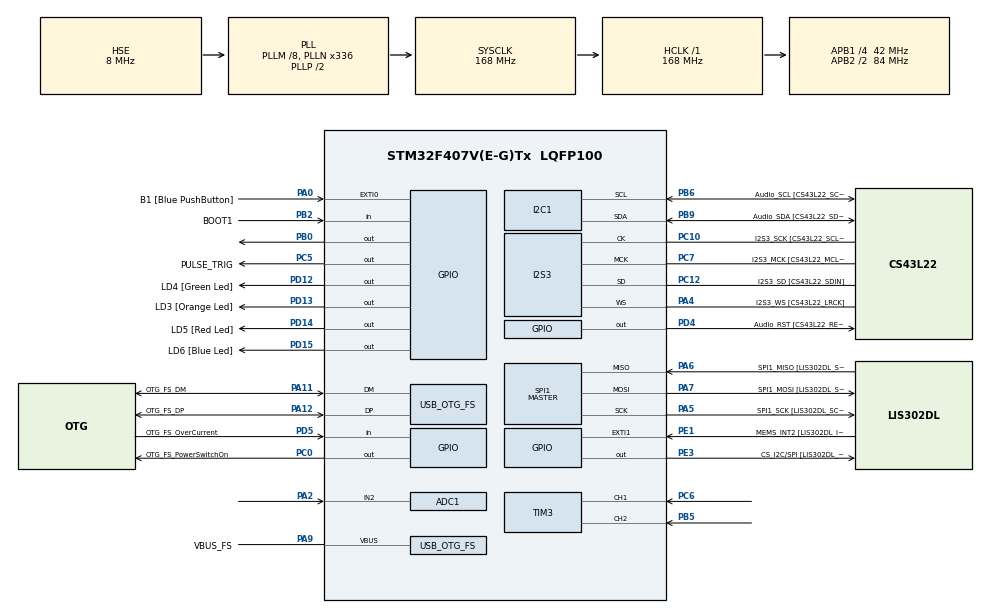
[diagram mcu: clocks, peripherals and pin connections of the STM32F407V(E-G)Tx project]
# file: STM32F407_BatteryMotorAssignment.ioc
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ADC1.Channel-0\#ChannelRegularConversion=ADC_CHANNEL_2
ADC1.NbrOfConversionFlag=1
ADC1.Rank-0\#ChannelRegularConversion=1
ADC1.SamplingTime-0\#ChannelRegularConversion=ADC_SAMPLETIME_3CYCLES
ADC1.master=1
I2S3.AudioFreq-Half_Duplex_Master=I2S_AUDIOFREQ_96K
I2S3.ErrorAudioFreq=-2.34 %
I2S3.ErrorAudioFreq-Half_Duplex_Master=0.8 %
I2S3.FullDuplexMode=I2S_FULLDUPLEXMODE_DISABLE
I2S3.Instance=SPI$Index
I2S3.RealAudioFreq=93.75 KHz
I2S3.RealAudioFreq-Half_Duplex_Master=96.774 KHz
I2S3.VirtualMode=I2S_MODE_MASTER
Mcu.Family=STM32F4
Mcu.Name=STM32F407V(E-G)Tx
Mcu.Package=LQFP100
NVIC.OTG_FS_IRQn=true\:0\:0\:false\:false\:true\:true\:true\:true
NVIC.PriorityGroup=NVIC_PRIORITYGROUP_0
NVIC.TIM3_IRQn=true\:0\:0\:false\:false\:true\:true\:true\:true
PA0-WKUP.GPIO_Label=B1 [Blue PushButton]
PA0-WKUP.GPIO_ModeDefaultEXTI=GPIO_MODE_EVT_RISING
PA0-WKUP.GPIO_PuPd=GPIO_NOPULL
PA0-WKUP.Signal=GPXTI0
PA1.Signal=S_TIM2_CH2
PA10.GPIO_Label=OTG_FS_ID
PA10.GPIO_Mode=GPIO_MODE_AF_PP
PA10.GPIO_PuPd=GPIO_NOPULL
PA10.GPIO_Speed=GPIO_SPEED_FREQ_LOW
PA10.Signal=USB_OTG_FS_ID
PA11.GPIO_Label=OTG_FS_DM
PA11.GPIO_Mode=GPIO_MODE_AF_PP
PA11.GPIO_PuPd=GPIO_NOPULL
PA11.GPIO_Speed=GPIO_SPEED_FREQ_LOW
PA11.Mode=Host_Only
PA11.Signal=USB_OTG_FS_DM
PA12.GPIO_Label=OTG_FS_DP
PA12.GPIO_Mode=GPIO_MODE_AF_PP
PA12.GPIO_PuPd=GPIO_NOPULL
PA12.GPIO_Speed=GPIO_SPEED_FREQ_LOW
PA12.Mode=Host_Only
PA12.Signal=USB_OTG_FS_DP
PA13.GPIO_Label=SWDIO
PA13.Mode=Serial_Wire
PA13.Signal=SYS_JTMS-SWDIO
PA14.GPIO_Label=SWCLK
PA14.Mode=Serial_Wire
PA14.Signal=SYS_JTCK-SWCLK
PA15.Signal=S_TIM2_CH1_ETR
PA2.Signal=ADCx_IN2
PA4.GPIO_Label=I2S3_WS [CS43L22_LRCK]
PA4.GPIO_Mode=GPIO_MODE_AF_PP
PA4.GPIO_PuPd=GPIO_NOPULL
PA4.GPIO_Speed=GPIO_SPEED_FREQ_LOW
PA4.Mode=Half_Duplex_Master
PA4.Signal=I2S3_WS
PA5.GPIO_Label=SPI1_SCK [LIS302DL_SCL/SPC]
PA5.GPIO_Mode=GPIO_MODE_AF_PP
PA5.GPIO_PuPd=GPIO_NOPULL
PA5.GPIO_Speed=GPIO_SPEED_FREQ_LOW
PA5.Mode=Full_Duplex_Master
PA5.Signal=SPI1_SCK
PA6.GPIO_Label=SPI1_MISO [LIS302DL_SDO]
PA6.GPIO_Mode=GPIO_MODE_AF_PP
PA6.GPIO_PuPd=GPIO_NOPULL
PA6.GPIO_Speed=GPIO_SPEED_FREQ_LOW
PA6.Mode=Full_Duplex_Master
PA6.Signal=SPI1_MISO
PA7.GPIO_Label=SPI1_MOSI [LIS302DL_SDA/SDI/SDO]
PA7.GPIO_Mode=GPIO_MODE_AF_PP
PA7.GPIO_PuPd=GPIO_NOPULL
PA7.GPIO_Speed=GPIO_SPEED_FREQ_LOW
PA7.Mode=Full_Duplex_Master
PA7.Signal=SPI1_MOSI
PA9.GPIO_Label=VBUS_FS
PA9.GPIO_Mode=GPIO_MODE_INPUT
PA9.GPIO_PuPd=GPIO_NOPULL
PA9.Mode=Activate_VBUS
PA9.Signal=USB_OTG_FS_VBUS
PB0.Signal=GPIO_Output
PB10.GPIO_Label=CLK_IN [MP45DT02_CLK]
PB10.GPIO_Mode=GPIO_MODE_AF_PP
PB10.GPIO_PuPd=GPIO_NOPULL
PB10.GPIO_Speed=GPIO_SPEED_FREQ_LOW
PB10.Signal=I2S2_CK
PB2.GPIO_Label=BOOT1
PB2.GPIO_Mode=GPIO_MODE_INPUT
PB2.GPIO_PuPd=GPIO_NOPULL
PB2.Signal=GPIO_Input
PB3.GPIO_Label=SWO
PB3.Signal=SYS_JTDO-SWO
PB5.Signal=S_TIM3_CH2
PB6.GPIO_Label=Audio_SCL [CS43L22_SCL]
PB6.GPIO_Mode=GPIO_MODE_AF_OD
PB6.GPIO_Pu=GPIO_PULLUP
PB6.GPIO_PuPd=GPIO_NOPULL
PB6.GPIO_Speed=GPIO_SPEED_FREQ_LOW
PB6.Mode=I2C
PB6.Signal=I2C1_SCL
PB9.GPIO_Label=Audio_SDA [CS43L22_SDA]
PB9.GPIO_Mode=GPIO_MODE_AF_OD
PB9.GPIO_Pu=GPIO_PULLUP
PB9.GPIO_PuPd=GPIO_NOPULL
PB9.GPIO_Speed=GPIO_SPEED_FREQ_LOW
PB9.Mode=I2C
PB9.Signal=I2C1_SDA
PC0.GPIO_Label=OTG_FS_PowerSwitchOn
PC0.GPIO_PuPd=GPIO_NOPULL
PC0.GPIO_Speed=GPIO_SPEED_FREQ_LOW
PC0.PinState=GPIO_PIN_SET
PC0.Signal=GPIO_Output
PC10.GPIO_Label=I2S3_SCK [CS43L22_SCLK]
PC10.GPIO_Mode=GPIO_MODE_AF_PP
PC10.GPIO_PuPd=GPIO_NOPULL
PC10.GPIO_Speed=GPIO_SPEED_FREQ_LOW
PC10.Mode=Half_Duplex_Master
PC10.Signal=I2S3_CK
PC12.GPIO_Label=I2S3_SD [CS43L22_SDIN]
PC12.GPIO_Mode=GPIO_MODE_AF_PP
PC12.GPIO_PuPd=GPIO_NOPULL
PC12.GPIO_Speed=GPIO_SPEED_FREQ_LOW
PC12.Mode=Half_Duplex_Master
PC12.Signal=I2S3_SD
PC14-OSC32_IN.GPIO_Label=PC14-OSC32_IN
PC14-OSC32_IN.Mode=LSE-External-Oscillator
PC14-OSC32_IN.Signal=RCC_OSC32_IN
PC15-OSC32_OUT.GPIO_Label=PC15-OSC32_OUT
PC15-OSC32_OUT.Mode=LSE-External-Oscillator
PC15-OSC32_OUT.Signal=RCC_OSC32_OUT
PC3.GPIO_Label=PDM_OUT [MP45DT02_DOUT]
PC3.GPIO_Mode=GPIO_MODE_AF_PP
PC3.GPIO_PuPd=GPIO_NOPULL
PC3.GPIO_Speed=GPIO_SPEED_FREQ_LOW
PC3.Signal=I2S2_SD
PC5.GPIO_Label=PULSE_TRIG
PC5.Signal=GPIO_Output
PC6.Signal=S_TIM3_CH1
PC7.GPIO_Label=I2S3_MCK [CS43L22_MCLK]
PC7.GPIO_Mode=GPIO_MODE_AF_PP
PC7.GPIO_PuPd=GPIO_NOPULL
PC7.GPIO_Speed=GPIO_SPEED_FREQ_LOW
PC7.Mode=Master_Clock_Activated
PC7.Signal=I2S3_MCK
PD12.GPIO_Label=LD4 [Green Led]
PD12.GPIO_PuPd=GPIO_NOPULL
PD12.GPIO_Speed=GPIO_SPEED_FREQ_LOW
PD12.Signal=GPIO_Output
PD13.GPIO_Label=LD3 [Orange Led]
PD13.GPIO_PuPd=GPIO_NOPULL
PD13.GPIO_Speed=GPIO_SPEED_FREQ_LOW
PD13.Signal=GPIO_Output
PD14.GPIO_Label=LD5 [Red Led]
PD14.GPIO_PuPd=GPIO_NOPULL
PD14.GPIO_Speed=GPIO_SPEED_FREQ_LOW
PD14.Signal=GPIO_Output
PD15.GPIO_Label=LD6 [Blue Led]
PD15.GPIO_PuPd=GPIO_NOPULL
PD15.GPIO_Speed=GPIO_SPEED_FREQ_LOW
PD15.Signal=GPIO_Output
PD4.GPIO_Label=Audio_RST [CS43L22_RESET]
PD4.GPIO_PuPd=GPIO_NOPULL
PD4.GPIO_Speed=GPIO_SPEED_FREQ_LOW
PD4.Signal=GPIO_Output
PD5.GPIO_Label=OTG_FS_OverCurrent
PD5.GPIO_Mode=GPIO_MODE_INPUT
PD5.GPIO_PuPd=GPIO_NOPULL
PD5.Signal=GPIO_Input
PE1.GPIO_Label=MEMS_INT2 [LIS302DL_INT2]
PE1.GPIO_ModeDefaultEXTI=GPIO_MODE_EVT_RISING
PE1.GPIO_PuPd=GPIO_NOPULL
PE1.Signal=GPXTI1
PE3.GPIO_Label=CS_I2C/SPI [LIS302DL_CS_I2C/SPI]
PE3.GPIO_PuPd=GPIO_NOPULL
PE3.GPIO_Speed=GPIO_SPEED_FREQ_LOW
PE3.Signal=GPIO_Output
PH0-OSC_IN.GPIO_Label=PH0-OSC_IN
PH0-OSC_IN.Mode=HSE-External-Oscillator
PH0-OSC_IN.Signal=RCC_OSC_IN
PH1-OSC_OUT.GPIO_Label=PH1-OSC_OUT
PH1-OSC_OUT.Mode=HSE-External-Oscillator
PH1-OSC_OUT.Signal=RCC_OSC_OUT
ProjectManager.HeapSize=0x200
ProjectManager.StackSize=0x400
ProjectManager.TargetToolchain=STM32CubeIDE
RCC.48MHZClocksFreq_Value=48000000
RCC.AHBFreq_Value=168000000
RCC.APB1CLKDivider=RCC_HCLK_DIV4
RCC.APB1Freq_Value=42000000
RCC.APB1TimFreq_Value=84000000
RCC.APB2CLKDivider=RCC_HCLK_DIV2
RCC.APB2Freq_Value=84000000
RCC.APB2TimFreq_Value=168000000
RCC.CortexFreq_Value=168000000
RCC.HCLKFreq_Value=168000000
RCC.HSE_VALUE=8000000
RCC.HSI_VALUE=16000000
RCC.PLLM=8
RCC.PLLN=336
RCC.PLLQ=7
RCC.SYSCLKFreq_VALUE=168000000
RCC.SYSCLKSource=RCC_SYSCLKSOURCE_PLLCLK
RCC.VCOOutputFreq_Value=336000000
SH.ADCx_IN2.0=ADC1_IN2,IN2
SH.S_TIM2_CH1_ETR.0=TIM2_CH1
SH.S_TIM2_CH2.0=TIM2_CH2
SH.S_TIM3_CH1.0=TIM3_CH1,Encoder_Interface
SH.S_TIM3_CH2.0=TIM3_CH2,Encoder_Interface
SPI1.BaudRatePrescaler-Full_Duplex_Master=SPI_BAUDRATEPRESCALER_2
SPI1.CalculateBaudRate-Full_Duplex_Master=42.0 MBits/s
SPI1.Direction=SPI_DIRECTION_2LINES
SPI1.Mode=SPI_MODE_MASTER
SPI1.Mode-Full_Duplex_Master=SPI_MODE_MASTER
SPI1.VirtualType=VM_MASTER
TIM1.Period=50000-1
TIM1.Prescaler=168-1
TIM3.IC1Polarity=TIM_ICPOLARITY_FALLING
TIM3.IC2Polarity=TIM_ICPOLARITY_FALLING
USB_HOST.BSP.number=1
USB_HOST.USBH_HandleTypeDef-CDC_FS=hUsbHostFS
USB_HOST.VirtualModeFS=Cdc
USB_HOST0.BSP.STBoard=false
USB_HOST0.BSP.api=Unknown
USB_HOST0.BSP.instance=PC0
USB_HOST0.BSP.ip=GPIO
USB_HOST0.BSP.mode=Output
USB_HOST0.BSP.name=Drive_VBUS_FS
USB_HOST0.BSP.solution=PC0
USB_OTG_FS.VirtualMode=Host_Only
USB_OTG_FS.phy_itface=HCD_PHY_EMBEDDED
VP_TIM1_VS_OPM.Mode=OPM_bit
VP_USB_HOST_VS_USB_HOST_CDC_FS.Mode=CDC_FS
board=STM32F407G-DISC1

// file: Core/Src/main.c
/* USER CODE BEGIN Header */
/**
  ******************************************************************************
  * @file           : main.c
  * @brief          : Main program body
  ******************************************************************************
  * @attention
  *
  * Copyright (c) 2025 STMicroelectronics.
  * All rights reserved.
  *
  * This software is licensed under terms that can be found in the LICENSE file
  * in the root directory of this software component.
  * If no LICENSE file comes with this software, it is provided AS-IS.
  *
  ******************************************************************************
  */
/* USER CODE END Header */
#include "main.h"
#include "usb_host.h"

ADC_HandleTypeDef hadc1;

I2C_HandleTypeDef hi2c1;

I2S_HandleTypeDef hi2s3;

SPI_HandleTypeDef hspi1;

TIM_HandleTypeDef htim1;
TIM_HandleTypeDef htim3;

/* USER CODE BEGIN PV */

#define MOTOR_PWM_CHANNEL TIM_CHANNEL_1
#define ADC_THRESHOLD_LOW 6.5
#define ADC_THRESHOLD_HIGH 7.0
#define VREF 3.3
#define ADC_MAX 4095.0
#define R1 10000.0
#define R2 3300.0

// Motor direction GPIO pins (example: PA1 = DIR1, PA2 = DIR2)
#define DIR_PIN1 GPIO_PIN_1
#define DIR_PIN2 GPIO_PIN_2
#define DIR_GPIO_PORT GPIOA

volatile uint8_t click_count = 0;
volatile uint8_t timer_started = 0;

/* USER CODE END PV */

void SystemClock_Config(void);
static void MX_GPIO_Init(void);
static void MX_I2C1_Init(void);
static void MX_I2S3_Init(void);
static void MX_SPI1_Init(void);
static void MX_TIM1_Init(void);
static void MX_TIM3_Init(void);
static void MX_ADC1_Init(void);
void MX_USB_HOST_Process(void);

/* USER CODE BEGIN 0 */

float read_battery_voltage(void) {
  HAL_ADC_Start(&hadc1);
  HAL_ADC_PollForConversion(&hadc1, HAL_MAX_DELAY);
  uint32_t adc_val = HAL_ADC_GetValue(&hadc1);
  float v_adc = (adc_val / ADC_MAX) * VREF;
  float battery_voltage = v_adc * (R1 + R2) / R2;
  return battery_voltage;
}

void set_motor_speed(float duty_cycle) {
  __HAL_TIM_SET_COMPARE(&htim3, MOTOR_PWM_CHANNEL, duty_cycle * (__HAL_TIM_GET_AUTORELOAD(&htim3)));
}

void motor_off(void) {
  set_motor_speed(0);
  HAL_GPIO_WritePin(DIR_GPIO_PORT, DIR_PIN1, GPIO_PIN_RESET);
  HAL_GPIO_WritePin(DIR_GPIO_PORT, DIR_PIN2, GPIO_PIN_RESET);
}

void motor_full_speed(void) {
  set_motor_speed(1.0);
}

void motor_variable_speed(void) {
  set_motor_speed(0.5);
}

void motor_rotate_ccw(void) {
  HAL_GPIO_WritePin(DIR_GPIO_PORT, DIR_PIN1, GPIO_PIN_SET);
  HAL_GPIO_WritePin(DIR_GPIO_PORT, DIR_PIN2, GPIO_PIN_RESET);
}

void motor_rotate_cw(void) {
  HAL_GPIO_WritePin(DIR_GPIO_PORT, DIR_PIN1, GPIO_PIN_RESET);
  HAL_GPIO_WritePin(DIR_GPIO_PORT, DIR_PIN2, GPIO_PIN_SET);
}

void HAL_GPIO_EXTI_Callback(uint16_t GPIO_Pin) {
  if (GPIO_Pin == GPIO_PIN_0) { // Example: PA0 external button
    click_count++;
    timer_started = 1;
    __HAL_TIM_SET_COUNTER(&htim3, 0);
    HAL_TIM_Base_Start_IT(&htim3);
  }
}

void handle_clicks(void) {
  switch (click_count) {
    case 1: motor_off(); break;
    case 2: motor_rotate_ccw(); break;
    case 3: motor_rotate_cw(); break;
    default: break;
  }
  click_count = 0;
  timer_started = 0;
  HAL_TIM_Base_Stop_IT(&htim3);
}

/* USER CODE END 0 */

int main(void)
{

  /* USER CODE BEGIN 1 */
	HAL_Init();
	  SystemClock_Config();
	  MX_GPIO_Init();
	  MX_ADC1_Init();
	  MX_TIM3_Init();

	  HAL_TIM_PWM_Start(&htim3, MOTOR_PWM_CHANNEL);

	  while (1) {
	    float voltage = read_battery_voltage();

	    if (voltage < ADC_THRESHOLD_LOW) {
	      motor_off();
	    } else if (voltage > ADC_THRESHOLD_HIGH) {
	      motor_full_speed();
	    } else {
	      motor_variable_speed();
	    }

	    HAL_Delay(200);
	  }
  /* USER CODE END 1 */

  /* MCU Configuration--------------------------------------------------------*/

  /* Reset of all peripherals, Initializes the Flash interface and the Systick. */
  HAL_Init();

  /* Configure the system clock */
  SystemClock_Config();

  /* Initialize all configured peripherals */
  MX_GPIO_Init();
  MX_I2C1_Init();
  MX_I2S3_Init();
  MX_SPI1_Init();
  MX_USB_HOST_Init();
  MX_TIM1_Init();
  MX_TIM3_Init();
  MX_ADC1_Init();

  /* Infinite loop */
  while (1)
  {
    MX_USB_HOST_Process();

  }
}

void SystemClock_Config(void)
{
  RCC_OscInitTypeDef RCC_OscInitStruct = {0};
  RCC_ClkInitTypeDef RCC_ClkInitStruct = {0};

  /** Configure the main internal regulator output voltage
  */
  __HAL_RCC_PWR_CLK_ENABLE();
  __HAL_PWR_VOLTAGESCALING_CONFIG(PWR_REGULATOR_VOLTAGE_SCALE1);

  /** Initializes the RCC Oscillators according to the specified parameters
  * in the RCC_OscInitTypeDef structure.
  */
  RCC_OscInitStruct.OscillatorType = RCC_OSCILLATORTYPE_HSE;
  RCC_OscInitStruct.HSEState = RCC_HSE_ON;
  RCC_OscInitStruct.PLL.PLLState = RCC_PLL_ON;
  RCC_OscInitStruct.PLL.PLLSource = RCC_PLLSOURCE_HSE;
  RCC_OscInitStruct.PLL.PLLM = 8;
  RCC_OscInitStruct.PLL.PLLN = 336;
  RCC_OscInitStruct.PLL.PLLP = RCC_PLLP_DIV2;
  RCC_OscInitStruct.PLL.PLLQ = 7;
  if (HAL_RCC_OscConfig(&RCC_OscInitStruct) != HAL_OK)
  {
    Error_Handler();
  }

  /** Initializes the CPU, AHB and APB buses clocks
  */
  RCC_ClkInitStruct.ClockType = RCC_CLOCKTYPE_HCLK|RCC_CLOCKTYPE_SYSCLK
                              |RCC_CLOCKTYPE_PCLK1|RCC_CLOCKTYPE_PCLK2;
  RCC_ClkInitStruct.SYSCLKSource = RCC_SYSCLKSOURCE_PLLCLK;
  RCC_ClkInitStruct.AHBCLKDivider = RCC_SYSCLK_DIV1;
  RCC_ClkInitStruct.APB1CLKDivider = RCC_HCLK_DIV4;
  RCC_ClkInitStruct.APB2CLKDivider = RCC_HCLK_DIV2;

  if (HAL_RCC_ClockConfig(&RCC_ClkInitStruct, FLASH_LATENCY_5) != HAL_OK)
  {
    Error_Handler();
  }
}

static void MX_ADC1_Init(void)
{

  ADC_ChannelConfTypeDef sConfig = {0};

  /** Configure the global features of the ADC (Clock, Resolution, Data Alignment and number of conversion)
  */
  hadc1.Instance = ADC1;
  hadc1.Init.ClockPrescaler = ADC_CLOCK_SYNC_PCLK_DIV4;
  hadc1.Init.Resolution = ADC_RESOLUTION_12B;
  hadc1.Init.ScanConvMode = DISABLE;
  hadc1.Init.ContinuousConvMode = DISABLE;
  hadc1.Init.DiscontinuousConvMode = DISABLE;
  hadc1.Init.ExternalTrigConvEdge = ADC_EXTERNALTRIGCONVEDGE_NONE;
  hadc1.Init.ExternalTrigConv = ADC_SOFTWARE_START;
  hadc1.Init.DataAlign = ADC_DATAALIGN_RIGHT;
  hadc1.Init.NbrOfConversion = 1;
  hadc1.Init.DMAContinuousRequests = DISABLE;
  hadc1.Init.EOCSelection = ADC_EOC_SINGLE_CONV;
  if (HAL_ADC_Init(&hadc1) != HAL_OK)
  {
    Error_Handler();
  }

  /** Configure for the selected ADC regular channel its corresponding rank in the sequencer and its sample time.
  */
  sConfig.Channel = ADC_CHANNEL_2;
  sConfig.Rank = 1;
  sConfig.SamplingTime = ADC_SAMPLETIME_3CYCLES;
  if (HAL_ADC_ConfigChannel(&hadc1, &sConfig) != HAL_OK)
  {
    Error_Handler();
  }

}

static void MX_I2C1_Init(void)
{

  hi2c1.Instance = I2C1;
  hi2c1.Init.ClockSpeed = 100000;
  hi2c1.Init.DutyCycle = I2C_DUTYCYCLE_2;
  hi2c1.Init.OwnAddress1 = 0;
  hi2c1.Init.AddressingMode = I2C_ADDRESSINGMODE_7BIT;
  hi2c1.Init.DualAddressMode = I2C_DUALADDRESS_DISABLE;
  hi2c1.Init.OwnAddress2 = 0;
  hi2c1.Init.GeneralCallMode = I2C_GENERALCALL_DISABLE;
  hi2c1.Init.NoStretchMode = I2C_NOSTRETCH_DISABLE;
  if (HAL_I2C_Init(&hi2c1) != HAL_OK)
  {
    Error_Handler();
  }

}

static void MX_I2S3_Init(void)
{

  hi2s3.Instance = SPI3;
  hi2s3.Init.Mode = I2S_MODE_MASTER_TX;
  hi2s3.Init.Standard = I2S_STANDARD_PHILIPS;
  hi2s3.Init.DataFormat = I2S_DATAFORMAT_16B;
  hi2s3.Init.MCLKOutput = I2S_MCLKOUTPUT_ENABLE;
  hi2s3.Init.AudioFreq = I2S_AUDIOFREQ_96K;
  hi2s3.Init.CPOL = I2S_CPOL_LOW;
  hi2s3.Init.ClockSource = I2S_CLOCK_PLL;
  hi2s3.Init.FullDuplexMode = I2S_FULLDUPLEXMODE_DISABLE;
  if (HAL_I2S_Init(&hi2s3) != HAL_OK)
  {
    Error_Handler();
  }

}

static void MX_SPI1_Init(void)
{

  /* SPI1 parameter configuration*/
  hspi1.Instance = SPI1;
  hspi1.Init.Mode = SPI_MODE_MASTER;
  hspi1.Init.Direction = SPI_DIRECTION_2LINES;
  hspi1.Init.DataSize = SPI_DATASIZE_8BIT;
  hspi1.Init.CLKPolarity = SPI_POLARITY_LOW;
  hspi1.Init.CLKPhase = SPI_PHASE_1EDGE;
  hspi1.Init.NSS = SPI_NSS_SOFT;
  hspi1.Init.BaudRatePrescaler = SPI_BAUDRATEPRESCALER_2;
  hspi1.Init.FirstBit = SPI_FIRSTBIT_MSB;
  hspi1.Init.TIMode = SPI_TIMODE_DISABLE;
  hspi1.Init.CRCCalculation = SPI_CRCCALCULATION_DISABLE;
  hspi1.Init.CRCPolynomial = 10;
  if (HAL_SPI_Init(&hspi1) != HAL_OK)
  {
    Error_Handler();
  }

}

static void MX_TIM1_Init(void)
{

  TIM_MasterConfigTypeDef sMasterConfig = {0};

  htim1.Instance = TIM1;
  htim1.Init.Prescaler = 168-1;
  htim1.Init.CounterMode = TIM_COUNTERMODE_UP;
  htim1.Init.Period = 50000-1;
  htim1.Init.ClockDivision = TIM_CLOCKDIVISION_DIV1;
  htim1.Init.RepetitionCounter = 0;
  htim1.Init.AutoReloadPreload = TIM_AUTORELOAD_PRELOAD_DISABLE;
  if (HAL_TIM_OnePulse_Init(&htim1, TIM_OPMODE_SINGLE) != HAL_OK)
  {
    Error_Handler();
  }
  sMasterConfig.MasterOutputTrigger = TIM_TRGO_RESET;
  sMasterConfig.MasterSlaveMode = TIM_MASTERSLAVEMODE_DISABLE;
  if (HAL_TIMEx_MasterConfigSynchronization(&htim1, &sMasterConfig) != HAL_OK)
  {
    Error_Handler();
  }

}

static void MX_TIM3_Init(void)
{

  TIM_Encoder_InitTypeDef sConfig = {0};
  TIM_MasterConfigTypeDef sMasterConfig = {0};

  htim3.Instance = TIM3;
  htim3.Init.Prescaler = 0;
  htim3.Init.CounterMode = TIM_COUNTERMODE_UP;
  htim3.Init.Period = 65535;
  htim3.Init.ClockDivision = TIM_CLOCKDIVISION_DIV1;
  htim3.Init.AutoReloadPreload = TIM_AUTORELOAD_PRELOAD_DISABLE;
  sConfig.EncoderMode = TIM_ENCODERMODE_TI1;
  sConfig.IC1Polarity = TIM_ICPOLARITY_FALLING;
  sConfig.IC1Selection = TIM_ICSELECTION_DIRECTTI;
  sConfig.IC1Prescaler = TIM_ICPSC_DIV1;
  sConfig.IC1Filter = 0;
  sConfig.IC2Polarity = TIM_ICPOLARITY_FALLING;
  sConfig.IC2Selection = TIM_ICSELECTION_DIRECTTI;
  sConfig.IC2Prescaler = TIM_ICPSC_DIV1;
  sConfig.IC2Filter = 0;
  if (HAL_TIM_Encoder_Init(&htim3, &sConfig) != HAL_OK)
  {
    Error_Handler();
  }
  sMasterConfig.MasterOutputTrigger = TIM_TRGO_RESET;
  sMasterConfig.MasterSlaveMode = TIM_MASTERSLAVEMODE_DISABLE;
  if (HAL_TIMEx_MasterConfigSynchronization(&htim3, &sMasterConfig) != HAL_OK)
  {
    Error_Handler();
  }

}

static void MX_GPIO_Init(void)
{
  GPIO_InitTypeDef GPIO_InitStruct = {0};

  /* GPIO Ports Clock Enable */
  __HAL_RCC_GPIOE_CLK_ENABLE();
  __HAL_RCC_GPIOC_CLK_ENABLE();
  __HAL_RCC_GPIOH_CLK_ENABLE();
  __HAL_RCC_GPIOA_CLK_ENABLE();
  __HAL_RCC_GPIOB_CLK_ENABLE();
  __HAL_RCC_GPIOD_CLK_ENABLE();

  /*Configure GPIO pin Output Level */
  HAL_GPIO_WritePin(CS_I2C_SPI_GPIO_Port, CS_I2C_SPI_Pin, GPIO_PIN_RESET);

  /*Configure GPIO pin Output Level */
  HAL_GPIO_WritePin(OTG_FS_PowerSwitchOn_GPIO_Port, OTG_FS_PowerSwitchOn_Pin, GPIO_PIN_SET);

  /*Configure GPIO pin Output Level */
  HAL_GPIO_WritePin(PULSE_TRIG_GPIO_Port, PULSE_TRIG_Pin, GPIO_PIN_RESET);

  /*Configure GPIO pin Output Level */
  HAL_GPIO_WritePin(GPIOB, GPIO_PIN_0, GPIO_PIN_RESET);

  /*Configure GPIO pin Output Level */
  HAL_GPIO_WritePin(GPIOD, LD4_Pin|LD3_Pin|LD5_Pin|LD6_Pin
                          |Audio_RST_Pin, GPIO_PIN_RESET);

  /*Configure GPIO pin : CS_I2C_SPI_Pin */
  GPIO_InitStruct.Pin = CS_I2C_SPI_Pin;
  GPIO_InitStruct.Mode = GPIO_MODE_OUTPUT_PP;
  GPIO_InitStruct.Pull = GPIO_NOPULL;
  GPIO_InitStruct.Speed = GPIO_SPEED_FREQ_LOW;
  HAL_GPIO_Init(CS_I2C_SPI_GPIO_Port, &GPIO_InitStruct);

  /*Configure GPIO pins : OTG_FS_PowerSwitchOn_Pin PULSE_TRIG_Pin */
  GPIO_InitStruct.Pin = OTG_FS_PowerSwitchOn_Pin|PULSE_TRIG_Pin;
  GPIO_InitStruct.Mode = GPIO_MODE_OUTPUT_PP;
  GPIO_InitStruct.Pull = GPIO_NOPULL;
  GPIO_InitStruct.Speed = GPIO_SPEED_FREQ_LOW;
  HAL_GPIO_Init(GPIOC, &GPIO_InitStruct);

  /*Configure GPIO pin : PDM_OUT_Pin */
  GPIO_InitStruct.Pin = PDM_OUT_Pin;
  GPIO_InitStruct.Mode = GPIO_MODE_AF_PP;
  GPIO_InitStruct.Pull = GPIO_NOPULL;
  GPIO_InitStruct.Speed = GPIO_SPEED_FREQ_LOW;
  GPIO_InitStruct.Alternate = GPIO_AF5_SPI2;
  HAL_GPIO_Init(PDM_OUT_GPIO_Port, &GPIO_InitStruct);

  /*Configure GPIO pin : B1_Pin */
  GPIO_InitStruct.Pin = B1_Pin;
  GPIO_InitStruct.Mode = GPIO_MODE_EVT_RISING;
  GPIO_InitStruct.Pull = GPIO_NOPULL;
  HAL_GPIO_Init(B1_GPIO_Port, &GPIO_InitStruct);

  /*Configure GPIO pins : PA1 PA15 */
  GPIO_InitStruct.Pin = GPIO_PIN_1|GPIO_PIN_15;
  GPIO_InitStruct.Mode = GPIO_MODE_AF_PP;
  GPIO_InitStruct.Pull = GPIO_NOPULL;
  GPIO_InitStruct.Speed = GPIO_SPEED_FREQ_LOW;
  GPIO_InitStruct.Alternate = GPIO_AF1_TIM2;
  HAL_GPIO_Init(GPIOA, &GPIO_InitStruct);

  /*Configure GPIO pin : PB0 */
  GPIO_InitStruct.Pin = GPIO_PIN_0;
  GPIO_InitStruct.Mode = GPIO_MODE_OUTPUT_PP;
  GPIO_InitStruct.Pull = GPIO_NOPULL;
  GPIO_InitStruct.Speed = GPIO_SPEED_FREQ_LOW;
  HAL_GPIO_Init(GPIOB, &GPIO_InitStruct);

  /*Configure GPIO pin : BOOT1_Pin */
  GPIO_InitStruct.Pin = BOOT1_Pin;
  GPIO_InitStruct.Mode = GPIO_MODE_INPUT;
  GPIO_InitStruct.Pull = GPIO_NOPULL;
  HAL_GPIO_Init(BOOT1_GPIO_Port, &GPIO_InitStruct);

  /*Configure GPIO pin : CLK_IN_Pin */
  GPIO_InitStruct.Pin = CLK_IN_Pin;
  GPIO_InitStruct.Mode = GPIO_MODE_AF_PP;
  GPIO_InitStruct.Pull = GPIO_NOPULL;
  GPIO_InitStruct.Speed = GPIO_SPEED_FREQ_LOW;
  GPIO_InitStruct.Alternate = GPIO_AF5_SPI2;
  HAL_GPIO_Init(CLK_IN_GPIO_Port, &GPIO_InitStruct);

  /*Configure GPIO pins : LD4_Pin LD3_Pin LD5_Pin LD6_Pin
                           Audio_RST_Pin */
  GPIO_InitStruct.Pin = LD4_Pin|LD3_Pin|LD5_Pin|LD6_Pin
                          |Audio_RST_Pin;
  GPIO_InitStruct.Mode = GPIO_MODE_OUTPUT_PP;
  GPIO_InitStruct.Pull = GPIO_NOPULL;
  GPIO_InitStruct.Speed = GPIO_SPEED_FREQ_LOW;
  HAL_GPIO_Init(GPIOD, &GPIO_InitStruct);

  /*Configure GPIO pin : OTG_FS_OverCurrent_Pin */
  GPIO_InitStruct.Pin = OTG_FS_OverCurrent_Pin;
  GPIO_InitStruct.Mode = GPIO_MODE_INPUT;
  GPIO_InitStruct.Pull = GPIO_NOPULL;
  HAL_GPIO_Init(OTG_FS_OverCurrent_GPIO_Port, &GPIO_InitStruct);

  /*Configure GPIO pin : MEMS_INT2_Pin */
  GPIO_InitStruct.Pin = MEMS_INT2_Pin;
  GPIO_InitStruct.Mode = GPIO_MODE_EVT_RISING;
  GPIO_InitStruct.Pull = GPIO_NOPULL;
  HAL_GPIO_Init(MEMS_INT2_GPIO_Port, &GPIO_InitStruct);

}

/* USER CODE BEGIN 4 */

void HAL_TIM_PeriodElapsedCallback(TIM_HandleTypeDef *htim) {
  if (htim->Instance == TIM3 && timer_started) {
    handle_clicks();
  }
}

/* USER CODE END 4 */

void Error_Handler(void)
{
  __disable_irq();
  while (1)
  {
  }
}
